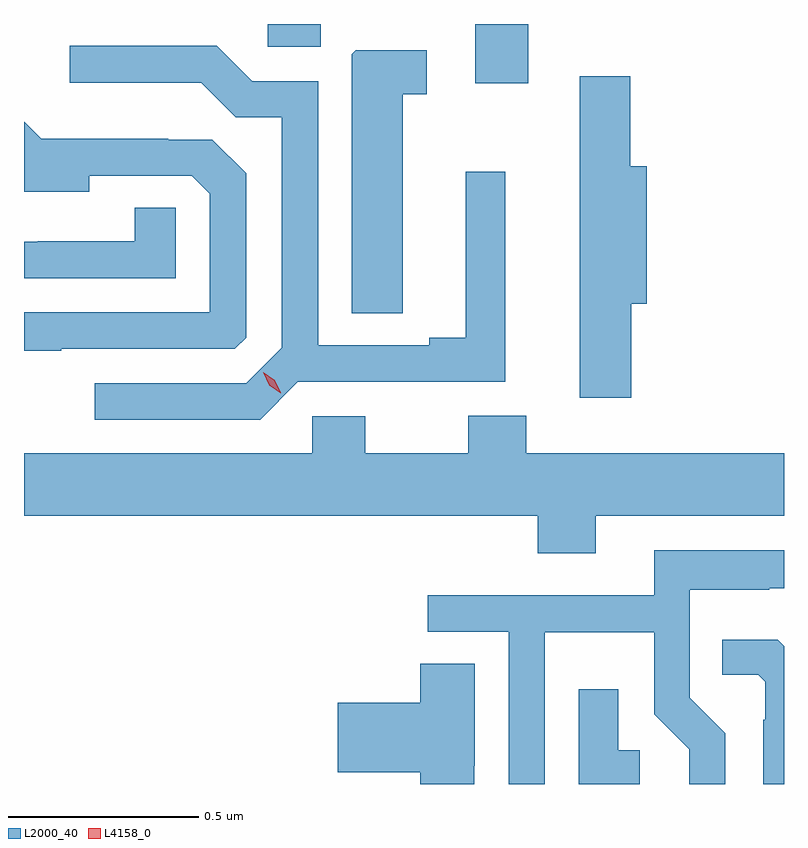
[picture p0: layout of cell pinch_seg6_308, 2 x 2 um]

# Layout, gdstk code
import gdstk
lib = gdstk.Library(unit=1e-6, precision=1e-09)
def R(c, l, rs):  # rectangles x0, y0, x1, y1
    for r in rs: c.add(gdstk.rectangle(r[:2], r[2:], *l))
def P(c, l, *ps):  # polygons
    for p in ps: c.add(gdstk.Polygon(p, *l))
L2000_40 = (2000, 40)
L4158_0 = (4158, 0)

pinch_seg6_308 = lib.new_cell('pinch_seg6_308')
R(pinch_seg6_308, L2000_40, [(795.752,968.454,795.892,968.61), (795.207,968.55,795.346,968.61)])
P(pinch_seg6_308, L2000_40, [(795.286,967.668),(795.832,967.668),(795.832,968.221),(795.728,968.221),(795.728,967.784),(795.632,967.784),(795.632,967.764),(795.339,967.764),(795.339,968.46),(795.165,968.46),(795.072,968.553),(794.685,968.553),(794.685,968.456),(795.031,968.456),(795.122,968.365),(795.243,968.365),(795.243,967.758),(795.15,967.665),(794.751,967.665),(794.751,967.569),(795.187,967.569)],
  [(795.562,968.425),(795.625,968.425),(795.625,968.541),(795.438,968.541),(795.428,968.531),(795.428,967.849),(795.562,967.849)],
  [(796.163,967.874),(796.204,967.874),(796.204,968.236),(796.16,968.236),(796.16,968.473),(796.028,968.473),(796.028,967.626),(796.163,967.626)],
  [(794.663,967.755),(795.12,967.755),(795.15,967.785),(795.15,968.217),(795.061,968.306),(794.945,968.306),(794.945,968.308),(794.611,968.308),(794.565,968.353),(794.565,968.209),(794.566,968.208),(794.566,968.168),(794.737,968.168),(794.737,968.211),(795.006,968.211),(795.054,968.163),(795.054,967.851),(794.565,967.851),(794.565,967.75),(794.663,967.75)],
  [(794.964,968.126),(794.856,968.126),(794.856,968.038),(794.601,968.038),(794.601,968.037),(794.565,968.037),(794.565,967.941),(794.964,967.941)],
  [(796.069,967.316),(796.565,967.316),(796.565,967.48),(795.887,967.48),(795.887,967.579),(795.734,967.579),(795.734,967.48),(795.463,967.48),(795.463,967.578),(795.324,967.578),(795.324,967.48),(794.565,967.48),(794.565,967.316),(795.917,967.316),(795.917,967.217),(796.069,967.217)],
  [(795.936,967.01),(796.224,967.01),(796.224,966.794),(796.316,966.702),(796.316,966.61),(796.41,966.61),(796.41,966.744),(796.317,966.837),(796.317,967.121),(796.526,967.121),(796.526,967.125),(796.565,967.125),(796.565,967.225),(796.223,967.225),(796.223,967.107),(795.627,967.107),(795.627,967.011),(795.84,967.011),(795.84,966.61),(795.936,966.61)],
  [(796.565,966.972),(796.548,966.989),(796.402,966.989),(796.402,966.897),(796.497,966.897),(796.515,966.879),(796.515,966.779),(796.511,966.779),(796.511,966.61),(796.565,966.61)],
  [(795.75,966.658),(795.751,966.658),(795.751,966.926),(795.608,966.926),(795.608,966.824),(795.39,966.824),(795.39,966.641),(795.608,966.641),(795.608,966.61),(795.75,966.61)],
  [(796.185,966.699),(796.129,966.699),(796.129,966.859),(796.025,966.859),(796.025,966.61),(796.185,966.61)])
P(pinch_seg6_308, L4158_0, [(795.241,967.638),(795.21,967.66),(795.194,967.693),(795.194,967.694),(795.195,967.694),(795.225,967.672),(795.241,967.639),(795.241,967.638)])

lib.write_gds('pinch_seg6_308.gds')
